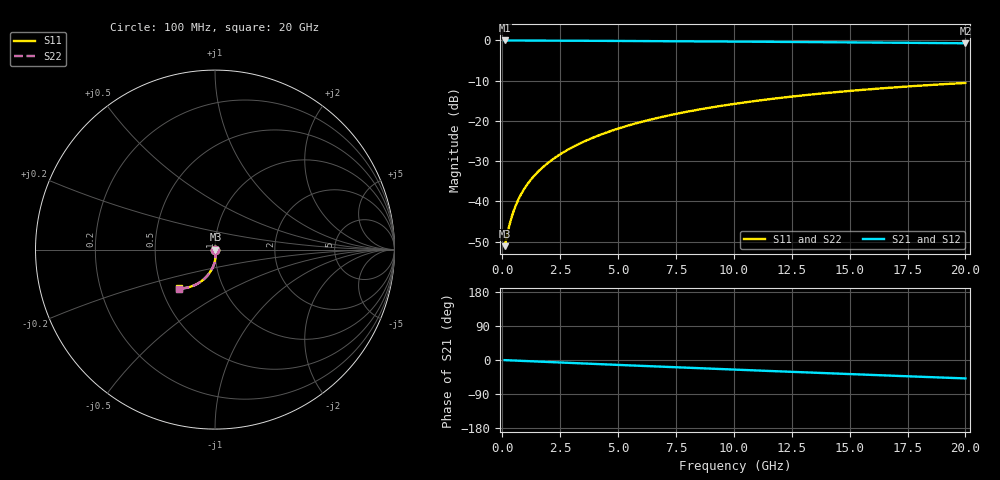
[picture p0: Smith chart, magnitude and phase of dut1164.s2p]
! Touchstone file exported from HFSS 2026.1.0
!  File:  C:/ffzhzh/LocalFiles/Ansys_Project_Files/temp_train_TMRDL_1164_1783162344_55132.aedt
!  Generated:  06:53:54 PM Jul  4, 2026
!  Design:  TMRDL
!  Project:  temp_train_TMRDL_1164_1783162344_55132
! Variables:
!  h_bsmrdl = 2um
!  h_ox = 20um
!  h_rdl = 5um
!  h_sub = 80um
!  h_tmrdl = 5.71um
!  h_tsv = 80um
!  h_via = 3um
!  l_bsmrdl = 300um
!  l_sub = 1221.32um
!  l_tmrdl = 821.32um
!  m_sub = 200um
!  pitch = 24.18um
!  r_tsv = 6um
!  s_tmrdl = 10um
!  w_bsmrdl = 18um
!  w_sub = 500um
!  w_tmrdl = 22.04um
!  x_tsv_center1 = 832.34um
!  x_tsv_center2 = 1150.34um
!  x_tsv_center3 = 1993.7um
!  x_tsv_center4 = 2311.7um
!  x_tsv_center5 = 3155.06um
!  x_tsv_center6 = 3473.06um
# GHz S MA R 50.000000
! Terminal data exported
! Port[1] = TM_RDL1_1_T1
! Port[2] = TM_RDL1_1_T2
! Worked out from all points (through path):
!   200 points, 100 MHz to 20 GHz, reference 50 ohm
!   highest |S21| = -0.02 dB at 100 MHz (marker M1); lowest = -0.7 dB at 20 GHz (marker M2)
!   group delay of S21, straight-line fit = 6.73 ps
!   lowest |S11| = -51.1 dB at 100 MHz (marker M3), VSWR 1.01, Z = 50.3 - j0.0627 ohm
!   |S11| at or under -10 dB: start of sweep to end of sweep
!   |S22| runs from -51.1 to -10.6 dB; largest |S21 - S12| = 4.6e-14
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0.1  0.002788 -12.9  0.9973 -0.3  0.9973 -0.3  0.002788 -12.9
! Gamma 0 0 0 0
! Port Impedance 50 0 50 0
0.3  0.004995 -39.5  0.9961 -0.9  0.9961 -0.9  0.004995 -39.5
0.4  0.006348 -48.6  0.9957 -1.1  0.9957 -1.1  0.006349 -48.6
0.5  0.007757 -55.3  0.9954 -1.4  0.9954 -1.4  0.007758 -55.3
0.6  0.009198 -60.4  0.9952 -1.7  0.9952 -1.7  0.009199 -60.3
0.8  0.01213 -67.2  0.9948 -2.2  0.9948 -2.2  0.01214 -67.2
1.1  0.01662 -73.4  0.9943 -3.0  0.9943 -3.0  0.01662 -73.4
1.5  0.02273 -78.2  0.9935 -4.0  0.9935 -4.0  0.02273 -78.1
1.8  0.02739 -80.6  0.9929 -4.8  0.9929 -4.8  0.0274 -80.5
2.1  0.03213 -82.4  0.9922 -5.6  0.9922 -5.6  0.03214 -82.4
2.7  0.04179 -85.4  0.9906 -7.1  0.9906 -7.1  0.0418 -85.3
3.5  0.05499 -88.5  0.9883 -9.2  0.9883 -9.2  0.055 -88.5
4.2  0.06673 -91.0  0.9861 -11.0  0.9861 -11.0  0.06675 -90.9
5  0.08024 -93.6  0.9836 -13.0  0.9836 -13.0  0.08027 -93.6
5.9  0.09544 -96.5  0.9807 -15.2  0.9807 -15.2  0.09548 -96.4
6.8  0.1105 -99.2  0.9776 -17.4  0.9776 -17.4  0.1106 -99.1
8.3  0.1353 -103.6  0.9723 -21.1  0.9723 -21.1  0.1354 -103.5
10.1  0.1641 -108.6  0.9654 -25.5  0.9654 -25.5  0.1642 -108.5
11.7  0.1886 -112.9  0.9588 -29.4  0.9588 -29.4  0.1888 -112.7
13.4  0.2135 -117.2  0.9514 -33.4  0.9514 -33.4  0.2137 -117.1
16.7  0.2578 -125.4  0.9361 -41.1  0.9361 -41.1  0.258 -125.2
20  0.2962 -133.1  0.9203 -48.6  0.9203 -48.6  0.2965 -132.9
